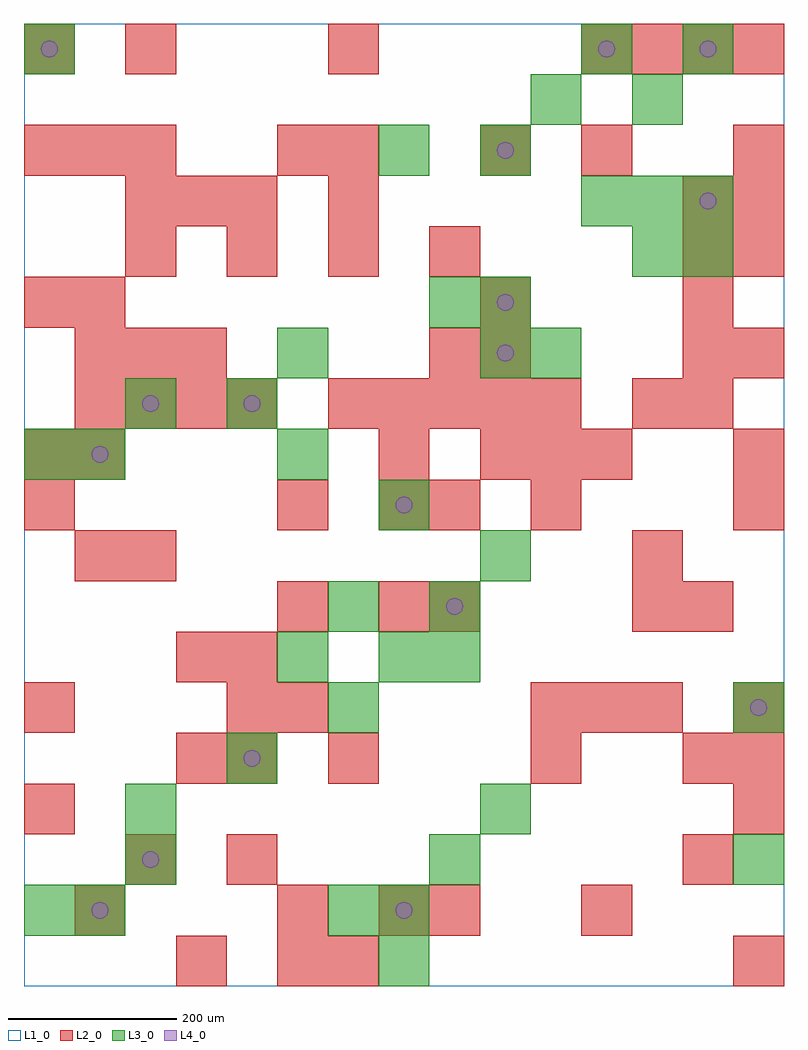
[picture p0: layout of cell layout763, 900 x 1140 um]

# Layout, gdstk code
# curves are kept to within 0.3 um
import gdstk
lib = gdstk.Library(unit=1e-6, precision=1e-09)
def R(c, l, rs):  # rectangles x0, y0, x1, y1
    for r in rs: c.add(gdstk.rectangle(r[:2], r[2:], *l))
def A(c, l, x, y, w, h, nx, ny, dx, dy):  # array of equal rectangles
    R(c, l, [(x+i*dx, y+j*dy, x+i*dx+w, y+j*dy+h) for i in range(nx) for j in range(ny)])
def P(c, l, *ps):  # polygons
    for p in ps: c.add(gdstk.Polygon(p, *l))
L1_0 = (1, 0)
L2_0 = (2, 0)
L3_0 = (3, 0)
L4_0 = (4, 0)

layout763 = lib.new_cell('layout763')
R(layout763, L1_0, [(0,0,900,1140)])
A(layout763, L2_0, 840, 180, 60, 60, 1, 3, 0, 60)
A(layout763, L2_0, 240, 240, 60, 60, 1, 3, 0, 60)
A(layout763, L2_0, 300, 300, 60, 60, 1, 3, 0, 120)
A(layout763, L2_0, 600, 300, 60, 60, 3, 1, 60, 0)
A(layout763, L2_0, 540, 600, 60, 60, 3, 1, 60, 0)
A(layout763, L2_0, 840, 600, 60, 60, 1, 3, 0, 120)
A(layout763, L2_0, 60, 660, 60, 60, 4, 1, 60, 0)
A(layout763, L2_0, 360, 660, 60, 60, 5, 1, 60, 0)
A(layout763, L2_0, 780, 660, 60, 60, 1, 5, 0, 60)
A(layout763, L2_0, 60, 720, 60, 60, 3, 1, 60, 0)
A(layout763, L2_0, 120, 840, 60, 60, 4, 1, 120, 0)
A(layout763, L2_0, 120, 900, 60, 60, 3, 1, 60, 0)
A(layout763, L2_0, 0, 960, 60, 60, 3, 1, 60, 0)
A(layout763, L2_0, 660, 1080, 60, 60, 4, 1, 60, 0)
R(layout763, L2_0, [(180,0,240,60), (300,0,360,60), (360,0,420,60), (840,0,900,60), (60,60,120,120), (300,60,360,120), (420,60,480,120), (480,60,540,120), (660,60,720,120), (120,120,180,180), (240,120,300,180), (780,120,840,180), (0,180,60,240), (180,240,240,300), (360,240,420,300), (600,240,660,300), (780,240,840,300), (0,300,60,360), (180,360,240,420), (420,420,480,480), (480,420,540,480), (720,420,780,480), (780,420,840,480), (60,480,120,540), (120,480,180,540), (720,480,780,540), (0,540,60,600), (420,540,480,600), (480,540,540,600), (600,540,660,600), (840,540,900,600), (0,600,60,660), (60,600,120,660), (420,600,480,660), (720,660,780,720), (480,720,540,780), (540,720,600,780), (0,780,60,840), (60,780,120,840), (540,780,600,840), (360,900,420,960), (840,900,900,960), (300,960,360,1020), (360,960,420,1020), (540,960,600,1020), (660,960,720,1020), (840,960,900,1020), (0,1080,60,1140), (120,1080,180,1140), (360,1080,420,1140)])
A(layout763, L3_0, 120, 120, 60, 60, 3, 1, 360, 0)
A(layout763, L3_0, 660, 900, 60, 60, 3, 1, 60, 0)
R(layout763, L3_0, [(420,0,480,60), (0,60,60,120), (60,60,120,120), (360,60,420,120), (420,60,480,120), (120,180,180,240), (540,180,600,240), (240,240,300,300), (360,300,420,360), (840,300,900,360), (300,360,360,420), (420,360,480,420), (480,360,540,420), (360,420,420,480), (480,420,540,480), (540,480,600,540), (420,540,480,600), (0,600,60,660), (60,600,120,660), (300,600,360,660), (120,660,180,720), (240,660,300,720), (300,720,360,780), (540,720,600,780), (600,720,660,780), (480,780,540,840), (540,780,600,840), (720,840,780,900), (780,840,840,900), (420,960,480,1020), (540,960,600,1020), (600,1020,660,1080), (720,1020,780,1080), (0,1080,60,1140), (660,1080,720,1140), (780,1080,840,1140)])
P(layout763, L4_0, [(40,1110),(39.239,1113.827),(37.071,1117.071),(33.827,1119.239),(30,1120),(26.173,1119.239),(22.929,1117.071),(20.761,1113.827),(20,1110),(20.761,1106.173),(22.929,1102.929),(26.173,1100.761),(30,1100),(33.827,1100.761),(37.071,1102.929),(39.239,1106.173)],
  [(100,90),(99.239,93.827),(97.071,97.071),(93.827,99.239),(90,100),(86.173,99.239),(82.929,97.071),(80.761,93.827),(80,90),(80.761,86.173),(82.929,82.929),(86.173,80.761),(90,80),(93.827,80.761),(97.071,82.929),(99.239,86.173)],
  [(100,630),(99.239,633.827),(97.071,637.071),(93.827,639.239),(90,640),(86.173,639.239),(82.929,637.071),(80.761,633.827),(80,630),(80.761,626.173),(82.929,622.929),(86.173,620.761),(90,620),(93.827,620.761),(97.071,622.929),(99.239,626.173)],
  [(160,150),(159.239,153.827),(157.071,157.071),(153.827,159.239),(150,160),(146.173,159.239),(142.929,157.071),(140.761,153.827),(140,150),(140.761,146.173),(142.929,142.929),(146.173,140.761),(150,140),(153.827,140.761),(157.071,142.929),(159.239,146.173)],
  [(160,690),(159.239,693.827),(157.071,697.071),(153.827,699.239),(150,700),(146.173,699.239),(142.929,697.071),(140.761,693.827),(140,690),(140.761,686.173),(142.929,682.929),(146.173,680.761),(150,680),(153.827,680.761),(157.071,682.929),(159.239,686.173)],
  [(280,270),(279.239,273.827),(277.071,277.071),(273.827,279.239),(270,280),(266.173,279.239),(262.929,277.071),(260.761,273.827),(260,270),(260.761,266.173),(262.929,262.929),(266.173,260.761),(270,260),(273.827,260.761),(277.071,262.929),(279.239,266.173)],
  [(280,690),(279.239,693.827),(277.071,697.071),(273.827,699.239),(270,700),(266.173,699.239),(262.929,697.071),(260.761,693.827),(260,690),(260.761,686.173),(262.929,682.929),(266.173,680.761),(270,680),(273.827,680.761),(277.071,682.929),(279.239,686.173)],
  [(460,90),(459.239,93.827),(457.071,97.071),(453.827,99.239),(450,100),(446.173,99.239),(442.929,97.071),(440.761,93.827),(440,90),(440.761,86.173),(442.929,82.929),(446.173,80.761),(450,80),(453.827,80.761),(457.071,82.929),(459.239,86.173)],
  [(460,570),(459.239,573.827),(457.071,577.071),(453.827,579.239),(450,580),(446.173,579.239),(442.929,577.071),(440.761,573.827),(440,570),(440.761,566.173),(442.929,562.929),(446.173,560.761),(450,560),(453.827,560.761),(457.071,562.929),(459.239,566.173)],
  [(520,450),(519.239,453.827),(517.071,457.071),(513.827,459.239),(510,460),(506.173,459.239),(502.929,457.071),(500.761,453.827),(500,450),(500.761,446.173),(502.929,442.929),(506.173,440.761),(510,440),(513.827,440.761),(517.071,442.929),(519.239,446.173)],
  [(580,750),(579.239,753.827),(577.071,757.071),(573.827,759.239),(570,760),(566.173,759.239),(562.929,757.071),(560.761,753.827),(560,750),(560.761,746.173),(562.929,742.929),(566.173,740.761),(570,740),(573.827,740.761),(577.071,742.929),(579.239,746.173)],
  [(580,810),(579.239,813.827),(577.071,817.071),(573.827,819.239),(570,820),(566.173,819.239),(562.929,817.071),(560.761,813.827),(560,810),(560.761,806.173),(562.929,802.929),(566.173,800.761),(570,800),(573.827,800.761),(577.071,802.929),(579.239,806.173)],
  [(580,990),(579.239,993.827),(577.071,997.071),(573.827,999.239),(570,1000),(566.173,999.239),(562.929,997.071),(560.761,993.827),(560,990),(560.761,986.173),(562.929,982.929),(566.173,980.761),(570,980),(573.827,980.761),(577.071,982.929),(579.239,986.173)],
  [(700,1110),(699.239,1113.827),(697.071,1117.071),(693.827,1119.239),(690,1120),(686.173,1119.239),(682.929,1117.071),(680.761,1113.827),(680,1110),(680.761,1106.173),(682.929,1102.929),(686.173,1100.761),(690,1100),(693.827,1100.761),(697.071,1102.929),(699.239,1106.173)],
  [(820,930),(819.239,933.827),(817.071,937.071),(813.827,939.239),(810,940),(806.173,939.239),(802.929,937.071),(800.761,933.827),(800,930),(800.761,926.173),(802.929,922.929),(806.173,920.761),(810,920),(813.827,920.761),(817.071,922.929),(819.239,926.173)],
  [(820,1110),(819.239,1113.827),(817.071,1117.071),(813.827,1119.239),(810,1120),(806.173,1119.239),(802.929,1117.071),(800.761,1113.827),(800,1110),(800.761,1106.173),(802.929,1102.929),(806.173,1100.761),(810,1100),(813.827,1100.761),(817.071,1102.929),(819.239,1106.173)],
  [(880,330),(879.239,333.827),(877.071,337.071),(873.827,339.239),(870,340),(866.173,339.239),(862.929,337.071),(860.761,333.827),(860,330),(860.761,326.173),(862.929,322.929),(866.173,320.761),(870,320),(873.827,320.761),(877.071,322.929),(879.239,326.173)])

lib.write_gds('layout763.gds')
